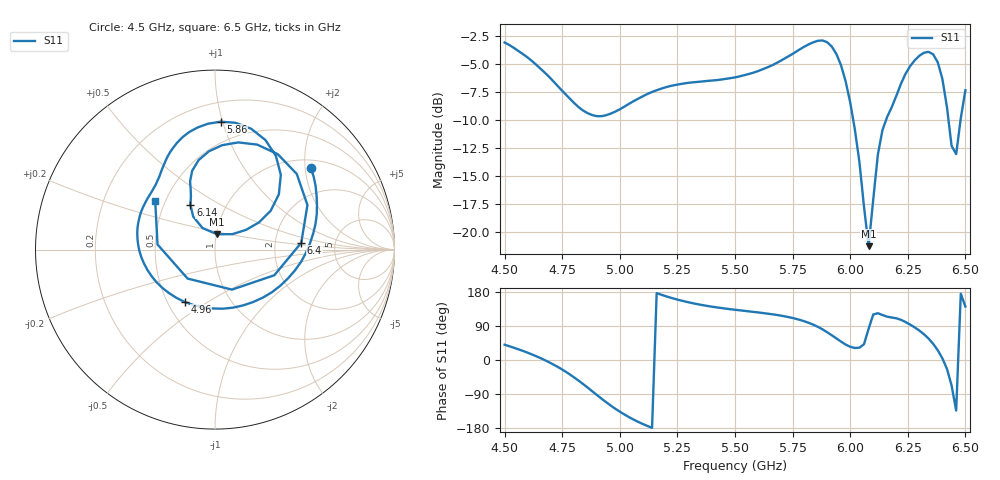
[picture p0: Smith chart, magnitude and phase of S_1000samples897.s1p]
! TOUCHSTONE file generated by CST MICROWAVE STUDIO
! Date and time: Sat Oct 29 17:50:22 2022
! Project name: L.cst
! Parameters = {Di=1.27; Epsilon_r=1.56; InnerDiameter=1.27; Length=2; Lf=10; Lg=60; OuterConductorThickness=0.2921; OuterDiameter=3.6; Wf=3; Wp=41.2; de=1.5; df=6.8; g=0.8; gx=3.31359; gy=0.704813; h=2.34; hf=1.524; px=13.9814; py=12.0623; w=9.7; wx=10.6678; wy=11.3575}
! Header version: 2018
! Port assignment regex: !\s*Touchstone port\s*([0-9]+)\s*=\s*(CST MWS port|CST DS port)\s*([0-9]+|Zmin|Zmax)\s*\(\"(.*)\"\)(\s*mode\s*([0-9]+))?.*
! Touchstone port assignment:
! Touchstone port 1 = CST MWS port 1 ("")
# GHz S DB R 50
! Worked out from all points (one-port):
!   101 points, 4.5 GHz to 6.5 GHz, reference 50 ohm
!   lowest |S11| = -21.3 dB at 6.08 GHz (marker M1), VSWR 1.19, Z = 50.4 + j8.67 ohm
!   |S11| at or under -10 dB: 6.013 GHz to 6.156 GHz (142.7 MHz wide, 2.35 % of centre); 6.427 GHz to 6.479 GHz (52.56 MHz wide, 0.815 % of centre)
!   S11 on the Smith chart (normalised r, x): 4.5 GHz: 1.20, +2.15; 4.96 GHz: 0.61, -0.40; 5.86 GHz: 0.34, +0.99; 6.14 GHz: 0.68, +0.37; 6.4 GHz: 2.83, +0.28; 6.5 GHz: 0.44, +0.29
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4.5  -3.09 40.3
4.62  -4.76 14.3
4.76  -7.62 -28.9
4.86  -9.40 -72.6
4.96  -9.45 -119.9
5  -9.06 -136.4
5.12  -7.69 -174.1
5.26  -6.81 157.9
5.5  -6.21 132.6
5.76  -3.98 109.4
5.86  -2.93 87.5
5.9  -3.06 73.3
5.94  -4.11 57.0
6  -8.44 34.9
6.04  -13.76 32.4
6.08  -21.29 82.6
6.12  -13.12 123.5
6.14  -10.92 118.8
6.22  -6.79 106.1
6.26  -5.21 93.5
6.3  -4.28 77.7
6.34  -3.93 56.7
6.38  -4.86 25.7
6.4  -6.33 4.6
6.44  -12.32 -67.0
6.46  -13.06 -133.4
6.48  -9.86 174.9
6.5  -7.36 141.0
